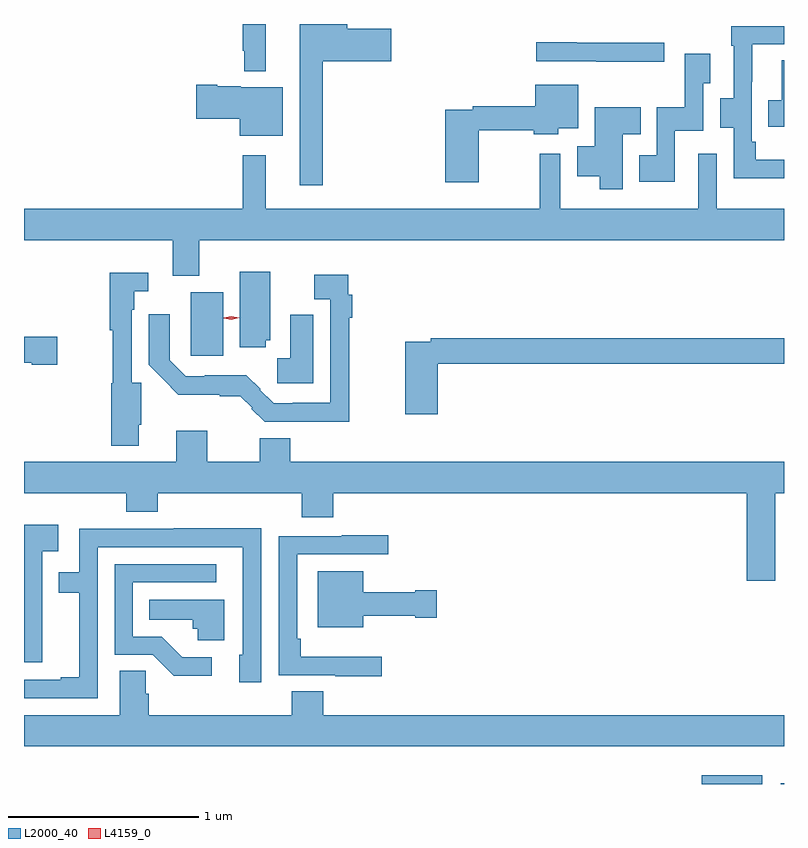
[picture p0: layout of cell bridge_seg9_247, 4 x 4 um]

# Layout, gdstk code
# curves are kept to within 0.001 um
import gdstk
lib = gdstk.Library(unit=1e-6, precision=1e-09)
def R(c, l, rs):  # rectangles x0, y0, x1, y1
    for r in rs: c.add(gdstk.rectangle(r[:2], r[2:], *l))
def P(c, l, *ps):  # polygons
    for p in ps: c.add(gdstk.Polygon(p, *l))
L2000_40 = (2000, 40)
L4159_0 = (4159, 0)

bridge_seg9_247 = lib.new_cell('bridge_seg9_247')
R(bridge_seg9_247, L2000_40, [(362.708,1165.585,363.028,1165.63), (363.124,1165.585,363.142,1165.59), (360.02,1167.84,360.19,1168.174)])
P(bridge_seg9_247, L2000_40, [(360.415,1169.585),(360.294,1169.585),(360.294,1169.443),(360.301,1169.443),(360.301,1169.336),(360.415,1169.336)],
  [(360.715,1169.39),(361.075,1169.39),(361.075,1169.56),(360.844,1169.56),(360.844,1169.585),(360.593,1169.585),(360.593,1168.737),(360.715,1168.737)],
  [(363.142,1168.87),(362.993,1168.87),(362.993,1168.966),(362.973,1168.966),(362.973,1169.281),(362.974,1169.281),(362.974,1169.478),(363.142,1169.478),(363.142,1169.574),(362.865,1169.574),(362.865,1169.471),(362.877,1169.471),(362.877,1169.193),(362.807,1169.193),(362.807,1169.038),(362.877,1169.038),(362.877,1168.772),(363.142,1168.772)],
  [(362.512,1169.486),(362.051,1169.486),(362.051,1169.489),(361.839,1169.489),(361.839,1169.388),(362.155,1169.388),(362.155,1169.386),(362.512,1169.386)],
  [(362.568,1169.024),(362.718,1169.024),(362.718,1169.272),(362.755,1169.272),(362.755,1169.428),(362.62,1169.428),(362.62,1169.146),(362.472,1169.146),(362.472,1168.894),(362.379,1168.894),(362.379,1168.754),(362.568,1168.754)],
  [(363.142,1169.393),(363.131,1169.393),(363.131,1169.185),(363.058,1169.185),(363.058,1169.045),(363.142,1169.045)],
  [(361.536,1169.025),(361.825,1169.025),(361.825,1169.006),(361.954,1169.006),(361.954,1169.036),(362.059,1169.036),(362.059,1169.266),(361.832,1169.266),(361.832,1169.153),(361.504,1169.153),(361.504,1169.133),(361.358,1169.133),(361.358,1168.752),(361.536,1168.752)],
  [(360.505,1169.251),(360.282,1169.251),(360.282,1169.257),(360.16,1169.257),(360.16,1169.264),(360.048,1169.264),(360.048,1169.086),(360.278,1169.086),(360.278,1168.997),(360.505,1168.997)],
  [(362.293,1169.006),(362.387,1169.006),(362.387,1169.146),(362.147,1169.146),(362.147,1168.942),(362.054,1168.942),(362.054,1168.784),(362.171,1168.784),(362.171,1168.716),(362.293,1168.716)],
  [(360.064,1168.448),(363.142,1168.448),(363.142,1168.612),(362.787,1168.612),(362.787,1168.903),(362.691,1168.903),(362.691,1168.612),(361.965,1168.612),(361.965,1168.903),(361.857,1168.903),(361.857,1168.612),(360.415,1168.612),(360.415,1168.894),(360.294,1168.894),(360.294,1168.612),(359.142,1168.612),(359.142,1168.448),(359.924,1168.448),(359.924,1168.259),(360.064,1168.259)],
  [(360.415,1167.921),(360.439,1167.921),(360.439,1168.282),(360.278,1168.282),(360.278,1167.884),(360.415,1167.884)],
  [(359.746,1167.475),(359.759,1167.475),(359.759,1167.696),(359.709,1167.696),(359.709,1168.082),(359.721,1168.082),(359.721,1168.179),(359.797,1168.179),(359.797,1168.276),(359.593,1168.276),(359.593,1167.972),(359.608,1167.972),(359.608,1167.693),(359.6,1167.693),(359.6,1167.365),(359.746,1167.365)],
  [(360.854,1168.04),(360.869,1168.04),(360.869,1168.16),(360.849,1168.16),(360.849,1168.264),(360.67,1168.264),(360.67,1168.136),(360.753,1168.136),(360.753,1167.592),(360.556,1167.592),(360.556,1167.588),(360.456,1167.588),(360.384,1167.66),(360.387,1167.663),(360.313,1167.737),(360.094,1167.737),(360.094,1167.732),(359.994,1167.732),(359.91,1167.816),(359.91,1168.057),(359.798,1168.057),(359.798,1167.792),(359.953,1167.635),(360.173,1167.635),(360.173,1167.627),(360.281,1167.627),(360.343,1167.565),(360.339,1167.561),(360.409,1167.491),(360.854,1167.491)],
  [(360.664,1168.055),(360.542,1168.055),(360.542,1167.827),(360.474,1167.827),(360.474,1167.694),(360.664,1167.694)],
  [(359.317,1167.938),(359.142,1167.938),(359.142,1167.803),(359.184,1167.803),(359.184,1167.791),(359.317,1167.791)],
  [(361.319,1167.796),(363.142,1167.796),(363.142,1167.932),(361.282,1167.932),(361.282,1167.912),(361.148,1167.912),(361.148,1167.531),(361.319,1167.531)],
  [(363.097,1167.116),(363.142,1167.116),(363.142,1167.28),(360.544,1167.28),(360.544,1167.406),(360.383,1167.406),(360.383,1167.28),(360.106,1167.28),(360.106,1167.445),(359.942,1167.445),(359.942,1167.28),(359.142,1167.28),(359.142,1167.116),(359.681,1167.116),(359.681,1167.017),(359.846,1167.017),(359.846,1167.116),(360.605,1167.116),(360.605,1166.988),(360.77,1166.988),(360.77,1167.116),(362.945,1167.116),(362.945,1166.655),(363.097,1166.655)],
  [(359.239,1166.714),(359.238,1166.714),(359.238,1166.81),(359.323,1166.81),(359.323,1166.95),(359.142,1166.95),(359.142,1166.226),(359.239,1166.226)],
  [(359.529,1166.832),(360.293,1166.832),(360.293,1166.617),(360.294,1166.617),(360.294,1166.265),(360.275,1166.265),(360.275,1166.121),(360.39,1166.121),(360.39,1166.93),(359.929,1166.93),(359.929,1166.928),(359.433,1166.928),(359.433,1166.7),(359.324,1166.7),(359.324,1166.592),(359.432,1166.592),(359.432,1166.146),(359.336,1166.146),(359.336,1166.133),(359.142,1166.133),(359.142,1166.037),(359.529,1166.037)],
  [(361.024,1166.254),(360.599,1166.254),(360.599,1166.35),(360.579,1166.35),(360.579,1166.793),(361.06,1166.793),(361.06,1166.893),(360.815,1166.893),(360.815,1166.889),(360.483,1166.889),(360.483,1166.157),(360.779,1166.157),(360.779,1166.153),(361.024,1166.153)],
  [(360.13,1166.253),(359.974,1166.253),(359.866,1166.361),(359.715,1166.361),(359.715,1166.646),(360.154,1166.646),(360.154,1166.742),(359.619,1166.742),(359.619,1166.265),(359.82,1166.265),(359.93,1166.156),(360.13,1166.156)],
  [(360.928,1166.471),(361.202,1166.471),(361.202,1166.459),(361.315,1166.459),(361.315,1166.606),(361.202,1166.606),(361.202,1166.593),(360.928,1166.593),(360.928,1166.704),(360.689,1166.704),(360.689,1166.411),(360.928,1166.411)],
  [(360.196,1166.554),(359.8,1166.554),(359.8,1166.45),(360.031,1166.45),(360.031,1166.403),(360.056,1166.403),(360.056,1166.342),(360.196,1166.342)],
  [(363.142,1165.948),(360.716,1165.948),(360.716,1166.072),(360.551,1166.072),(360.551,1165.948),(359.798,1165.948),(359.798,1166.06),(359.783,1166.06),(359.783,1166.18),(359.645,1166.18),(359.645,1165.948),(359.142,1165.948),(359.142,1165.784),(363.142,1165.784)])
P(bridge_seg9_247, L4159_0, [(360.234,1168.028),(360.193,1168.037),(360.193,1168.037),(360.193,1168.038),(360.234,1168.048),(360.275,1168.039),(360.275,1168.039),(360.275,1168.039)])

lib.write_gds('bridge_seg9_247.gds')
